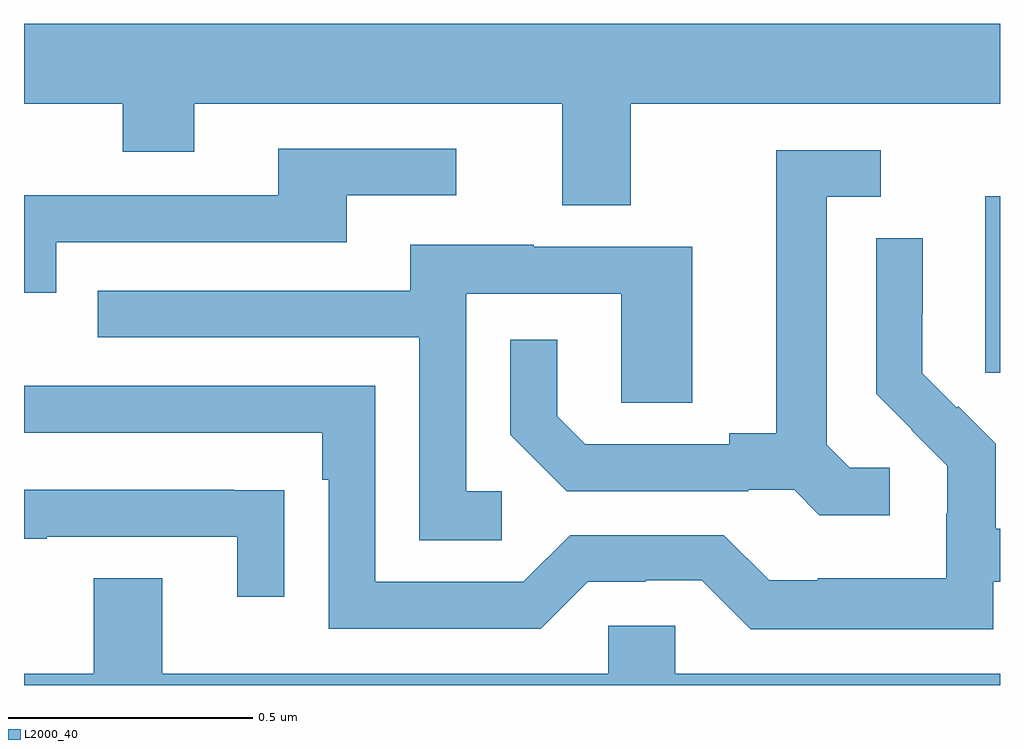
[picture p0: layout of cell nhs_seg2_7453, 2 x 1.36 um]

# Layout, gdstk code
import gdstk
lib = gdstk.Library(unit=1e-6, precision=1e-09)
def R(c, l, rs):  # rectangles x0, y0, x1, y1
    for r in rs: c.add(gdstk.rectangle(r[:2], r[2:], *l))
def P(c, l, *ps):  # polygons
    for p in ps: c.add(gdstk.Polygon(p, *l))
L2000_40 = (2000, 40)

nhs_seg2_7453 = lib.new_cell('nhs_seg2_7453')
R(nhs_seg2_7453, L2000_40, [(205.97,624.441,206,624.802)])
P(nhs_seg2_7453, L2000_40, [(205.243,624.992),(206,624.992),(206,625.156),(204,625.156),(204,624.992),(204.202,624.992),(204.202,624.893),(204.349,624.893),(204.349,624.992),(205.103,624.992),(205.103,624.784),(205.243,624.784)],
  [(204.066,624.708),(204.661,624.708),(204.661,624.804),(204.886,624.804),(204.886,624.9),(204.521,624.9),(204.521,624.804),(204,624.804),(204,624.605),(204.066,624.605)],
  [(205.774,624.246),(205.692,624.246),(205.645,624.293),(205.645,624.801),(205.756,624.801),(205.756,624.897),(205.541,624.897),(205.541,624.317),(205.445,624.317),(205.445,624.294),(205.15,624.294),(205.093,624.351),(205.093,624.508),(204.996,624.508),(204.996,624.314),(205.112,624.198),(205.484,624.198),(205.484,624.201),(205.578,624.201),(205.63,624.149),(205.774,624.149)],
  [(205.986,624.012),(206,624.012),(206,624.121),(205.991,624.121),(205.991,624.295),(205.914,624.372),(205.911,624.369),(205.841,624.44),(205.841,624.562),(205.842,624.562),(205.842,624.716),(205.746,624.716),(205.746,624.398),(205.819,624.325),(205.818,624.324),(205.892,624.25),(205.892,624.153),(205.89,624.153),(205.89,624.019),(205.627,624.019),(205.627,624.015),(205.527,624.015),(205.434,624.108),(205.119,624.108),(205.023,624.012),(204.72,624.012),(204.72,624.414),(204,624.414),(204,624.318),(204.611,624.318),(204.611,624.221),(204.624,624.221),(204.624,623.916),(205.059,623.916),(205.155,624.012),(205.274,624.012),(205.274,624.015),(205.389,624.015),(205.489,623.915),(205.986,623.915)],
  [(204.979,624.198),(204.906,624.198),(204.906,624.603),(205.224,624.603),(205.224,624.379),(205.369,624.379),(205.369,624.699),(205.045,624.699),(205.045,624.703),(204.791,624.703),(204.791,624.609),(204.151,624.609),(204.151,624.513),(204.81,624.513),(204.81,624.097),(204.979,624.097)],
  [(204.533,624.2),(204.431,624.2),(204.431,624.201),(204,624.201),(204,624.1),(204.047,624.1),(204.047,624.105),(204.437,624.105),(204.437,623.982),(204.533,623.982)],
  [(206,623.824),(205.335,623.824),(205.335,623.922),(205.197,623.922),(205.197,623.824),(204.283,623.824),(204.283,624.019),(204.143,624.019),(204.143,623.824),(204,623.824),(204,623.8),(206,623.8)])

lib.write_gds('nhs_seg2_7453.gds')
